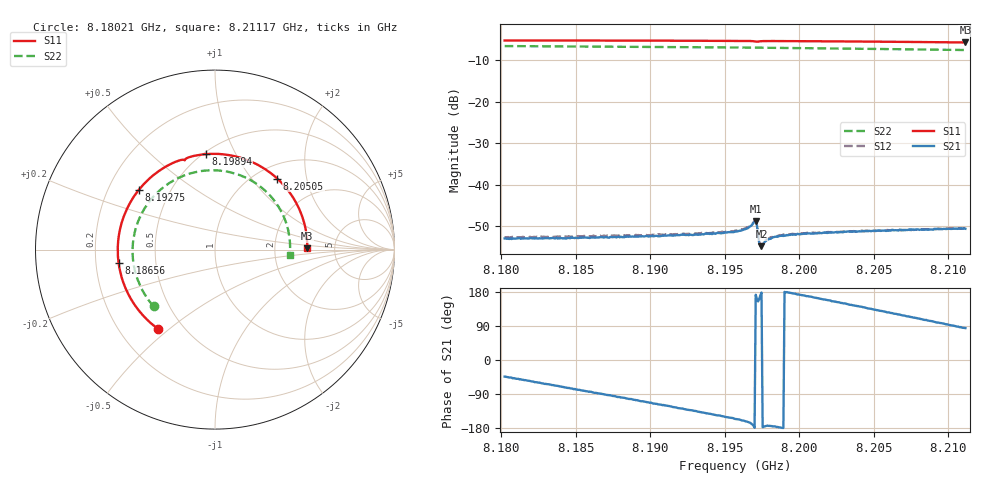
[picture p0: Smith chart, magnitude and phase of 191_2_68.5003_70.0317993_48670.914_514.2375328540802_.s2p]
#  HZ  S  RI  R  50.00
! Rohde & Schwarz Vector Network Analyzer
! Rohde-Schwarz,ZNB20-2Port,1311601062101988,3.16
! Created: UTC 3/20/2024, 4:57:07 PM
! freq[Hz]  re:S11  im:S11  re:S21  im:S21  re:S12  im:S12  re:S22  im:S22
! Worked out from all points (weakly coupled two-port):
!   401 points, 8.18021 GHz to 8.21117 GHz, reference 50 ohm
!   highest |S21| = -48.81 dB at 8.19708 GHz (marker M1); lowest = -54.8 dB at 8.19747 GHz (marker M2)
!   lowest |S11| = -5.8 dB at 8.21117 GHz (marker M3), VSWR 3.12, Z = 156 + j2.79 ohm
!   |S11| at or under -10 dB: nowhere
!   |S22| runs from -7.6 to -6.6 dB; largest |S21 - S12| = 0.00018
!   S11 on the Smith chart (normalised r, x): 8.18021 GHz: 0.36, -0.46; 8.18656 GHz: 0.30, -0.06; 8.19275 GHz: 0.33, +0.31; 8.19894 GHz: 0.51, +0.77; 8.20505 GHz: 1.24, +1.36; 8.21117 GHz: 3.12, +0.06
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8.180209e9  -0.3174 -0.4416  0.00163 -0.00156  0.00164 -0.00164  -0.3415 -0.3166
8.182996e9  -0.4508 -0.303  0.00103 -0.00204  0.00104 -0.0021  -0.4239 -0.1857
8.185395e9  -0.521 -0.1523  0.000391 -0.00227  0.000381 -0.00236  -0.4568 -0.0569
8.186556e9  -0.5373 -0.073  6.19e-05 -0.00232  2.11e-05 -0.00242  -0.4592 0.00737
8.188568e9  -0.5373 0.0673  -0.000525 -0.00231  -0.000558 -0.00242  -0.4418 0.1175
8.190581e9  -0.501 0.2032  -0.00109 -0.00213  -0.00118 -0.00224  -0.3979 0.22
8.192748e9  -0.4238 0.3338  -0.00169 -0.00183  -0.00181 -0.00185  -0.3243 0.3148
8.195689e9  -0.2662 0.4667  -0.00248 -0.00113  -0.00257 -0.00111  -0.1887 0.406
8.196463e9  -0.2159 0.4907  -0.00282 -0.000907  -0.00295 -0.000815  -0.148 0.4212
8.196927e9  -0.1823 0.5006  -0.00345 -0.000414  -0.0035 -0.000269  -0.1229 0.4284
8.197005e9  -0.176 0.5005  -0.0036 -6.53e-05  -0.00365 8.36e-05  -0.1186 0.4295
8.197082e9  -0.1709 0.499  -0.00359 0.000489  -0.00361 0.000665  -0.1144 0.4303
8.197392e9  -0.1612 0.5069  -0.00181 0.000305  -0.00182 0.00038  -0.0978 0.434
8.197469e9  -0.1559 0.51  -0.00182 6.86e-05  -0.00186 0.000186  -0.0934 0.4349
8.198011e9  -0.1169 0.5222  -0.00221 -0.000241  -0.00228 -0.000156  -0.0631 0.4394
8.19894e9  -0.0509 0.5319  -0.00242 -2.18e-05  -0.00252 9.7e-05  -0.0105 0.442
8.200875e9  0.0856 0.5252  -0.00251 0.00061  -0.00254 0.000744  0.0981 0.4275
8.202887e9  0.2205 0.4814  -0.00233 0.00133  -0.0023 0.00144  0.2043 0.3836
8.205054e9  0.3472 0.3954  -0.0019 0.00205  -0.00181 0.0021  0.3026 0.3056
8.206061e9  0.3963 0.3435  -0.00162 0.0023  -0.00154 0.00236  0.3398 0.2602
8.208692e9  0.487 0.1808  -0.000697 0.0028  -0.000638 0.00284  0.4051 0.1192
8.211169e9  0.5143 0.00657  0.000294 0.00294  0.000391 0.00298  0.4162 -0.0294
